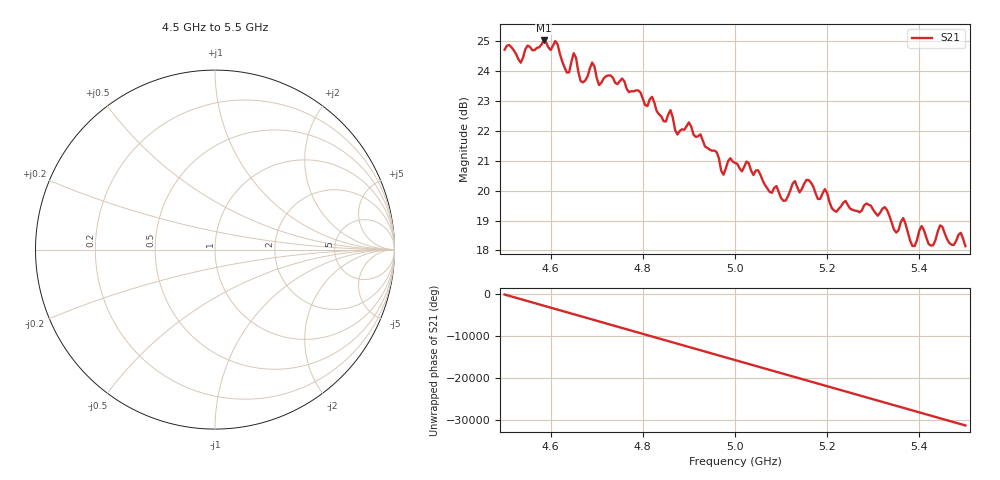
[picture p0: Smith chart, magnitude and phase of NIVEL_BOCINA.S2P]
!Agilent Technologies,E5071C,MY46102923,A.09.31
!Date: Wed Jan 03 04:16:26 2001
!Data & Calibration Information:
!Freq	S11:NONE(--)	S21:NONE(--)	S12:NONE(--)	S22:NONE(--)
# Hz S dB R 50
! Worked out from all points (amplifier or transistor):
!   201 points, 4.5 GHz to 5.5 GHz, reference 50 ohm
!   highest |S21| = 25.0 dB at 4.585 GHz (marker M1)
!   |S21| within 3 dB of that: start of sweep to 4.871 GHz (the widest 1 of 2)
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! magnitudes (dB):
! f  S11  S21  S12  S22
! 4.5 GHz  -  24.7  -  -
! 4.535 GHz  -  24.3  -  -
! 4.585 GHz  -  25.0  -  -
! 4.635 GHz  -  23.9  -  -
! 4.65 GHz  -  24.6  -  -
! 4.67 GHz  -  23.6  -  -
! 4.69 GHz  -  24.3  -  -
! 4.705 GHz  -  23.5  -  -
! 4.755 GHz  -  23.7  -  -
! 4.835 GHz  -  22.5  -  -
! 4.9 GHz  -  22.3  -  -
! 4.975 GHz  -  20.5  -  -
! 5 GHz  -  20.9  -  -
! 5.105 GHz  -  19.7  -  -
! 5.17 GHz  -  20.1  -  -
! 5.22 GHz  -  19.3  -  -
! 5.335 GHz  -  19.2  -  -
! 5.35 GHz  -  18.6  -  -
! 5.365 GHz  -  19.1  -  -
! 5.385 GHz  -  18.2  -  -
! 5.445 GHz  -  18.8  -  -
! 5.5 GHz  -  18.1  -  -
